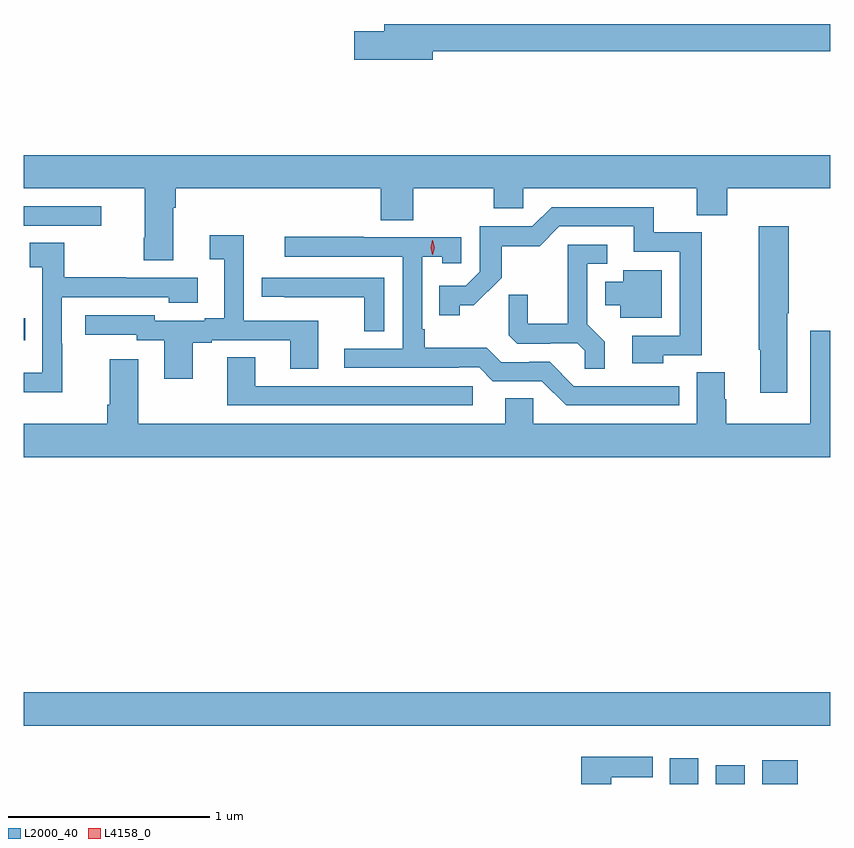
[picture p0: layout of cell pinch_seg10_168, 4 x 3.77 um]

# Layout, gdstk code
import gdstk
lib = gdstk.Library(unit=1e-6, precision=1e-09)
def R(c, l, rs):  # rectangles x0, y0, x1, y1
    for r in rs: c.add(gdstk.rectangle(r[:2], r[2:], *l))
def P(c, l, *ps):  # polygons
    for p in ps: c.add(gdstk.Polygon(p, *l))
L2000_40 = (2000, 40)
L4158_0 = (4158, 0)

pinch_seg10_168 = lib.new_cell('pinch_seg10_168')
R(pinch_seg10_168, L2000_40, [(684.383,1253.406,684.523,1253.533), (684.611,1253.406,684.754,1253.5), (684.842,1253.406,685.018,1253.524), (681.178,1253.696,685.178,1253.86), (681.178,1255.607,681.185,1255.717), (681.178,1256.175,681.562,1256.271)])
P(pinch_seg10_168, L2000_40, [(683.206,1257.04),(685.178,1257.04),(685.178,1257.176),(682.967,1257.176),(682.967,1257.14),(682.818,1257.14),(682.818,1256.998),(683.206,1256.998)],
  [(681.178,1256.36),(681.779,1256.36),(681.779,1256.116),(681.772,1256.116),(681.772,1256.004),(681.919,1256.004),(681.919,1256.264),(681.932,1256.264),(681.932,1256.36),(682.949,1256.36),(682.949,1256.203),(683.109,1256.203),(683.109,1256.36),(683.509,1256.36),(683.509,1256.262),(683.655,1256.262),(683.655,1256.36),(684.515,1256.36),(684.515,1256.227),(684.668,1256.227),(684.668,1256.36),(685.178,1256.36),(685.178,1256.524),(681.178,1256.524)],
  [(684.351,1255.533),(684.541,1255.533),(684.541,1256.142),(684.302,1256.142),(684.302,1256.268),(683.796,1256.268),(683.7,1256.172),(683.439,1256.172),(683.439,1255.947),(683.37,1255.878),(683.239,1255.878),(683.239,1255.731),(683.34,1255.731),(683.34,1255.781),(683.41,1255.781),(683.548,1255.918),(683.548,1256.074),(683.737,1256.074),(683.835,1256.172),(684.203,1256.172),(684.203,1256.046),(684.432,1256.046),(684.432,1255.629),(684.195,1255.629),(684.195,1255.493),(684.351,1255.493)],
  [(684.964,1255.741),(684.972,1255.741),(684.972,1256.173),(684.823,1256.173),(684.823,1255.559),(684.83,1255.559),(684.83,1255.347),(684.964,1255.347)],
  [(682.015,1255.596),(682.111,1255.596),(682.111,1255.608),(682.499,1255.608),(682.499,1255.465),(682.639,1255.465),(682.639,1255.704),(682.269,1255.704),(682.269,1256.128),(682.101,1256.128),(682.101,1256.008),(682.172,1256.008),(682.172,1255.717),(682.076,1255.717),(682.076,1255.704),(681.828,1255.704),(681.828,1255.731),(681.483,1255.731),(681.483,1255.635),(681.738,1255.635),(681.738,1255.608),(681.875,1255.608),(681.875,1255.416),(682.015,1255.416)],
  [(684.43,1255.38),(683.907,1255.38),(683.787,1255.5),(683.686,1255.5),(683.686,1255.497),(683.547,1255.497),(683.474,1255.57),(683.167,1255.57),(683.167,1255.663),(683.154,1255.663),(683.154,1256.021),(683.253,1256.021),(683.253,1255.989),(683.349,1255.989),(683.349,1256.118),(682.865,1256.118),(682.865,1256.121),(682.473,1256.121),(682.473,1256.022),(683.058,1256.022),(683.058,1255.566),(682.767,1255.566),(682.767,1255.47),(683.336,1255.47),(683.336,1255.473),(683.436,1255.473),(683.505,1255.404),(683.748,1255.404),(683.868,1255.284),(684.43,1255.284)],
  [(681.369,1255.589),(681.366,1255.589),(681.366,1255.821),(681.897,1255.821),(681.897,1255.793),(682.042,1255.793),(682.042,1255.917),(681.683,1255.917),(681.683,1255.92),(681.379,1255.92),(681.379,1256.09),(681.207,1256.09),(681.207,1255.969),(681.27,1255.969),(681.27,1255.447),(681.178,1255.447),(681.178,1255.349),(681.369,1255.349)],
  [(684.059,1255.601),(683.973,1255.687),(683.973,1255.986),(684.073,1255.986),(684.073,1256.082),(683.876,1256.082),(683.876,1255.69),(683.678,1255.69),(683.678,1255.833),(683.584,1255.833),(683.584,1255.631),(683.625,1255.59),(683.79,1255.59),(683.79,1255.593),(683.924,1255.593),(683.961,1255.556),(683.961,1255.465),(684.059,1255.465)],
  [(684.343,1255.954),(684.152,1255.954),(684.152,1255.897),(684.062,1255.897),(684.062,1255.781),(684.137,1255.781),(684.137,1255.718),(684.343,1255.718)],
  [(682.965,1255.917),(682.359,1255.917),(682.359,1255.822),(682.471,1255.822),(682.471,1255.821),(682.867,1255.821),(682.867,1255.651),(682.965,1255.651)],
  [(684.515,1255.448),(684.515,1255.192),(683.706,1255.192),(683.706,1255.319),(683.567,1255.319),(683.567,1255.192),(681.745,1255.192),(681.745,1255.513),(681.605,1255.513),(681.605,1255.288),(681.593,1255.288),(681.593,1255.192),(681.178,1255.192),(681.178,1255.028),(685.178,1255.028),(685.178,1255.654),(685.079,1255.654),(685.079,1255.192),(684.663,1255.192),(684.663,1255.314),(684.655,1255.314),(684.655,1255.448)],
  [(683.404,1255.38),(682.327,1255.38),(682.327,1255.523),(682.187,1255.523),(682.187,1255.284),(683.404,1255.284)],
  [(684.092,1253.44),(684.298,1253.44),(684.298,1253.542),(683.942,1253.542),(683.942,1253.406),(684.092,1253.406)])
P(pinch_seg10_168, L4158_0, [(683.205,1256.031),(683.196,1256.067),(683.205,1256.103),(683.206,1256.103),(683.206,1256.103),(683.216,1256.067),(683.206,1256.031),(683.206,1256.031)])

lib.write_gds('pinch_seg10_168.gds')
